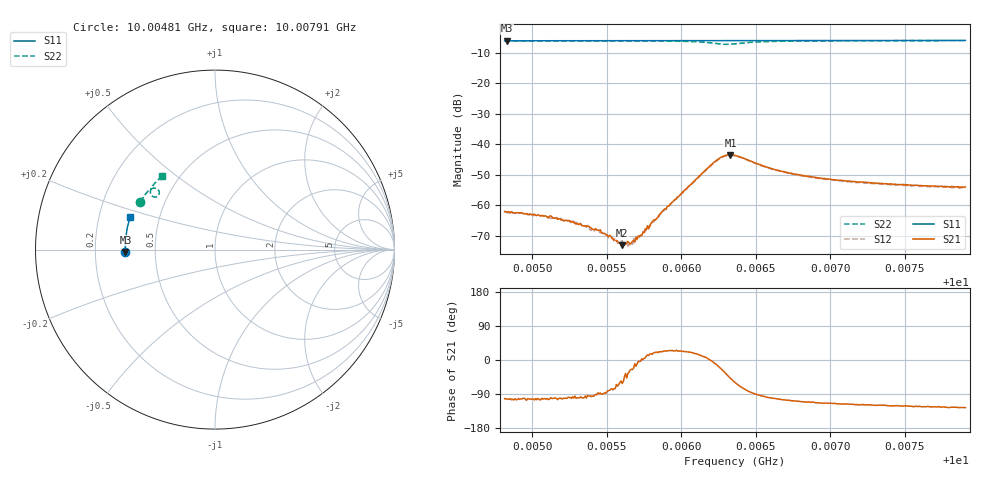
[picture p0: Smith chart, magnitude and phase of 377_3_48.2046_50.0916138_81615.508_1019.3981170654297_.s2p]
#  HZ  S  RI  R  50.00
! Rohde & Schwarz Vector Network Analyzer
! Rohde-Schwarz,ZNB20-2Port,1311601062101988,3.16
! Created: UTC 3/20/2024, 11:52:58 AM
! freq[Hz]  re:S11  im:S11  re:S21  im:S21  re:S12  im:S12  re:S22  im:S22
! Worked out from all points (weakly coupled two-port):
!   401 points, 10.00481 GHz to 10.00791 GHz, reference 50 ohm
!   highest |S21| = -43.49 dB at 10.00633 GHz (marker M1); lowest = -73.2 dB at 10.0056 GHz (marker M2)
!   lowest |S11| = -6.0 dB at 10.00483 GHz (marker M3), VSWR 2.99, Z = 16.7 - j0.598 ohm
!   |S11| at or under -10 dB: nowhere
!   |S22| runs from -7.2 to -6.0 dB; largest |S21 - S12| = 0.00039
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1.0004814e10  -0.4991 -0.0144  -0.000163 -0.00077  -0.000124 -0.000784  -0.4158 0.2666
1.0004829e10  -0.499 -0.0134  -0.000176 -0.000751  -0.000133 -0.000748  -0.4153 0.2676
1.0005077e10  -0.4998 0.0027  -0.000136 -0.000645  -9.32e-05 -0.000663  -0.4064 0.282
1.0005131e10  -0.4999 0.00638  -0.000127 -0.000633  -0.000107 -0.000607  -0.4043 0.2854
1.0005332e10  -0.4999 0.0193  -7.87e-05 -0.000457  -5.43e-05 -0.00047  -0.3963 0.2974
1.0005401e10  -0.4998 0.024  -3.42e-05 -0.000405  -2.28e-05 -0.000407  -0.3932 0.3014
1.000544e10  -0.4997 0.0264  2.21e-05 -0.000386  1.8e-05 -0.000363  -0.3915 0.3038
1.0005517e10  -0.4996 0.0314  5.37e-05 -0.000315  6.3e-05 -0.000294  -0.388 0.3084
1.0005564e10  -0.4995 0.0343  0.00011 -0.000234  8.9e-05 -0.000256  -0.3857 0.3114
1.0005602e10  -0.4993 0.0369  0.000103 -0.000193  0.000175 -0.000195  -0.3837 0.3138
1.0005656e10  -0.4992 0.0404  0.000207 -0.000103  0.000182 -0.000113  -0.3808 0.3171
1.0005672e10  -0.4991 0.0414  0.000232 -0.00011  0.000221 -5.95e-05  -0.3798 0.3181
1.0005734e10  -0.499 0.0454  0.000316 1.83e-05  0.000328 2.49e-05  -0.3763 0.3219
1.000585e10  -0.4985 0.053  0.000637 0.000254  0.000596 0.00027  -0.3684 0.3294
1.0006221e10  -0.4956 0.0768  0.00505 -0.000714  0.00497 -0.00043  -0.3136 0.3291
1.0006275e10  -0.4951 0.08  0.00562 -0.00278  0.00562 -0.00249  -0.311 0.3105
1.0006329e10  -0.4948 0.0833  0.00448 -0.00497  0.00464 -0.00466  -0.324 0.2947
1.000636e10  -0.4946 0.0851  0.00337 -0.00564  0.00356 -0.00536  -0.3348 0.2926
1.0006615e10  -0.4924 0.1015  -0.000743 -0.00386  -0.000548 -0.00384  -0.3588 0.3306
1.0006878e10  -0.4892 0.1182  -0.00103 -0.00272  -0.000919 -0.00265  -0.3475 0.3545
1.0007396e10  -0.4814 0.1506  -0.00115 -0.0019  -0.001 -0.00192  -0.3216 0.3843
1.0007906e10  -0.4715 0.1819  -0.00116 -0.00163  -0.00105 -0.0016  -0.2956 0.4077
